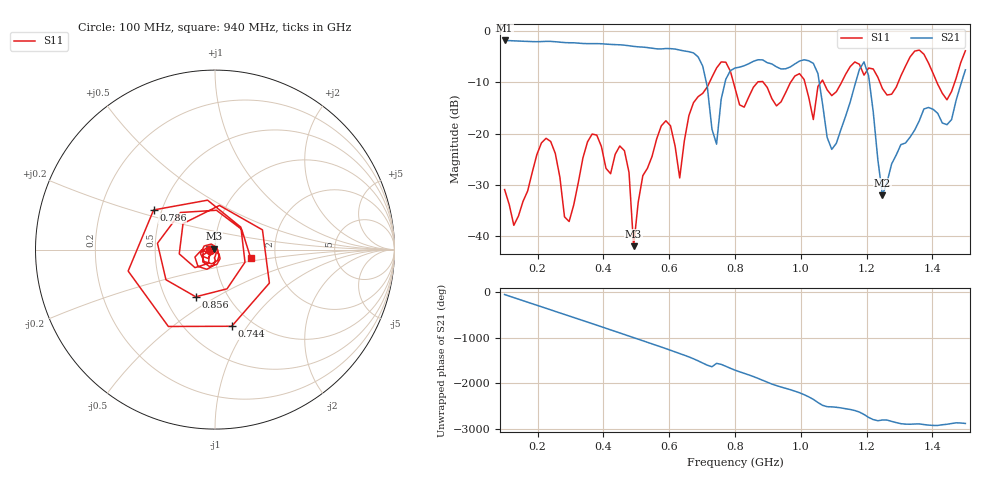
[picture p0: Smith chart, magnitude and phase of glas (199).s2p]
! NanoVNA-App
! Date: 2025-09-25 15:57:01
! Start: 100MHz Stop: 1,5GHz Points: 101
! S-Parameter data: F S11 S21 S12 S22
# Hz S RI R 50
!  Frequency  S11_Real  S11_Imag  S21_Real  S21_Imag  S12_Real  S12_Imag  S22_Real  S22_Imag
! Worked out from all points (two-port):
!   101 points, 100 MHz to 1.5 GHz, reference 50 ohm
!   highest |S21| = -1.80 dB at 100 MHz (marker M1); lowest = -32.0 dB at 1.248 GHz (marker M2)
!   |S21| within 3 dB of the highest: start of sweep to 684.1 MHz
!   lowest |S11| = -42.0 dB at 492 MHz (marker M3), VSWR 1.02, Z = 49.5 + j0.606 ohm
!   |S11| at or under -10 dB: start of sweep to 722.4 MHz; 795.3 MHz to 868.4 MHz (73.05 MHz wide, 8.78 % of centre); 886.1 MHz to 968.8 MHz (82.71 MHz wide, 8.92 % of centre) (the widest 3 of 7)
!   S12 and S22 are empty: the file has one direction only
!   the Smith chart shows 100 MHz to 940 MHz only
!   S11 on the Smith chart (normalised r, x): 100 MHz: 0.95, -0.01; 744 MHz: 0.81, -0.85; 786 MHz: 0.45, +0.24; 856 MHz: 0.71, -0.41; 940 MHz: 1.49, -0.15
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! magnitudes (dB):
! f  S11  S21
! 100 MHz  -30.9  -1.8
! 128 MHz  -37.9  -1.9
! 226 MHz  -20.9  -2.0
! 296 MHz  -37.2  -2.2
! 338 MHz  -24.7  -2.4
! 464 MHz  -23.3  -2.7
! 492 MHz  -42.0  -3.0
! 576 MHz  -18.5  -3.5
! 632 MHz  -28.7  -3.7
! 702 MHz  -12.1  -6.8
! 744 MHz  -7.2  -22.1
! 786 MHz  -7.8  -7.7
! 800 MHz  -11.1  -7.2
! 856 MHz  -10.9  -5.9
! 940 MHz  -13.8  -7.4
! 996 MHz  -8.3  -5.8
! 1.038 GHz  -17.3  -6.3
! 1.094 GHz  -12.6  -23.1
! 1.192 GHz  -8.6  -6.0
! 1.248 GHz  -11.2  -32.0
! 1.276 GHz  -12.3  -25.9
! 1.5 GHz  -3.8  -7.6
